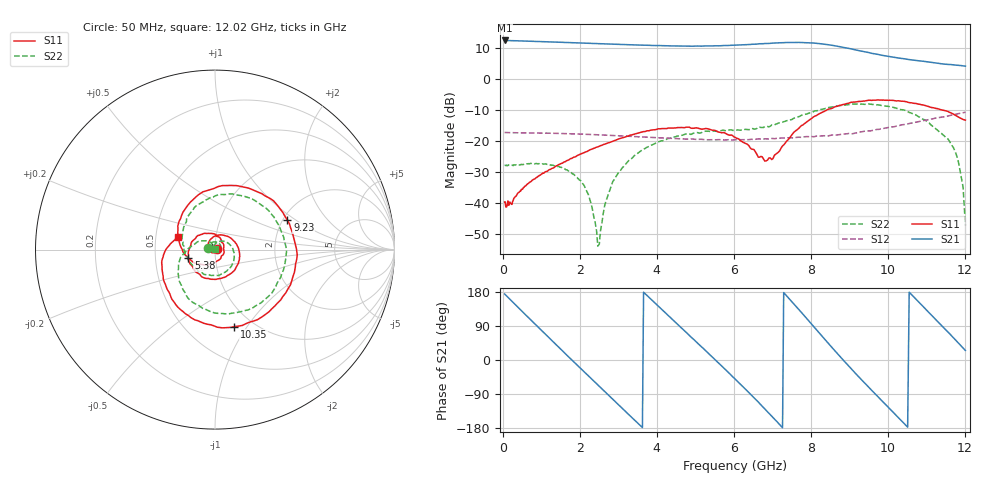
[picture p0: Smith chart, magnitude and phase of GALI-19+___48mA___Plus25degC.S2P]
! Mini-Circuits
! S2P DATA File Format
! Type: MMIC Amplifier
! Model: GALI-19  Reference Data:RDF-1299
! Note: All S Parameters are in dB deg format
! TEST CONDITIONS: INPUT POWER = -20dBm, Icc = 48mA, Vd = 3.71V @Temperature = +25degC
! 401 Frequency points
# MHz S DB R 50
!  FREQ  dB(S11)  PHS(S11)  dB(S21)  PHS(S21)  dB(S12)  PHS(S12)  dB(S22)  PHS(S22)
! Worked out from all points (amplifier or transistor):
!   401 points, 50 MHz to 12.02 GHz, reference 50 ohm
!   highest |S21| = 12.5 dB at 50 MHz (marker M1)
!   |S21| within 3 dB of that: start of sweep to 9.152 GHz
!   unconditionally stable (mu >= 1): start of sweep to end of sweep
!   at 1.2 GHz: K = 1.19, MAG = 12.1 dB, |S12| = -17.4 dB
!   at 4.99 GHz: K = 1.51, MAG = 10.8 dB, |S12| = -19.4 dB
!   at 12.02 GHz: K = 1.24, MAG = 4.5 dB, |S12| = -10.6 dB
!   S11 on the Smith chart (normalised r, x): 50 MHz: 1.02, +0.00; 5.38 GHz: 0.74, -0.07; 9.23 GHz: 2.11, +0.86; 10.35 GHz: 0.82, -0.88; 12.02 GHz: 0.65, +0.10
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50  -39.58 5.8  12.51 174.2  -17.22 -4.7  -27.83 168.6
570  -34.55 -105.7  12.32 121.8  -17.28 -47.8  -27.31 125.9
975  -30.95 -152.9  12.15 81.3  -17.35 -81.7  -27.33 86.6
1550  -27.09 152.0  11.89 24.3  -17.52 -130.1  -28.69 30.8
2060  -23.95 111.0  11.68 -25.8  -17.72 -173.3  -33.48 -18.2
2510  -21.60 76.9  11.47 -69.8  -17.94 148.3  -53.19 162.1
2860  -20.02 48.9  11.31 -103.8  -18.15 118.2  -33.02 103.4
3450  -17.59 1.4  11.07 -160.9  -18.52 66.6  -24.45 51.9
4050  -15.98 -47.3  10.87 141.4  -18.90 13.7  -20.17 4.9
4680  -15.60 -100.6  10.70 81.2  -19.24 -43.8  -18.02 -40.3
5380  -16.16 -163.0  10.75 13.9  -19.53 -108.5  -16.84 -91.2
6040  -18.74 133.6  10.99 -50.4  -19.52 -171.4  -16.44 -134.0
6640  -25.13 51.0  11.41 -110.9  -19.22 130.9  -15.49 -167.9
7230  -22.25 -95.8  11.76 -174.4  -19.02 73.8  -14.00 155.2
7620  -16.58 -157.2  11.88 141.8  -18.78 36.6  -12.33 126.8
8040  -12.53 150.8  11.70 92.9  -18.50 -3.3  -10.66 92.0
8630  -8.90 83.5  10.80 24.5  -18.06 -56.4  -8.73 39.4
9230  -7.22 22.2  9.29 -42.3  -17.19 -107.8  -8.01 -13.9
10030  -6.76 -49.0  7.37 -126.3  -15.53 -177.2  -8.80 -80.4
10350  -7.09 -75.9  6.74 -159.2  -14.76 155.3  -9.83 -106.9
11220  -9.31 -142.3  5.32 109.6  -12.60 77.8  -15.67 -175.5
12020  -13.20 160.9  4.22 25.1  -10.64 6.0  -47.17 102.4
